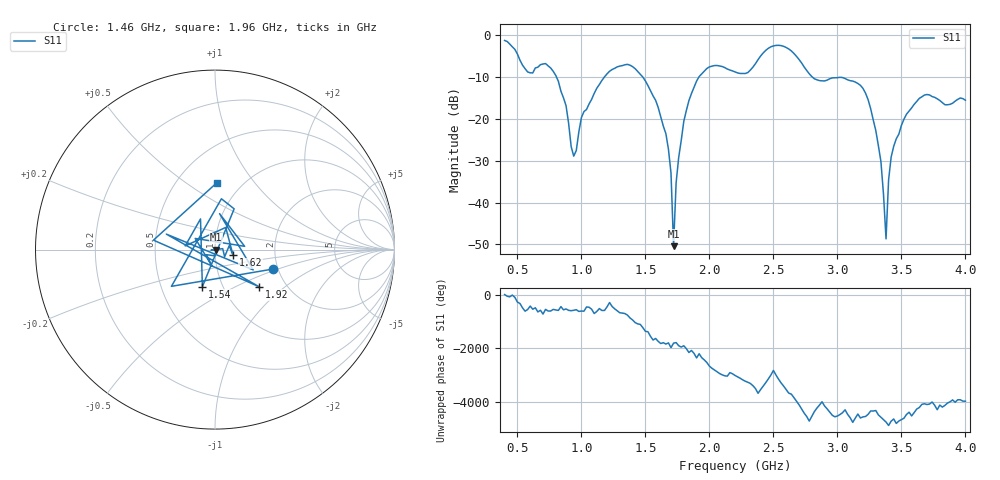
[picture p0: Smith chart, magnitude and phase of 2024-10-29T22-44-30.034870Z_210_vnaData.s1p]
!Created with skrf (http://scikit-rf.org).
# Hz S RI R 50.0
!freq ReS11 ImS11
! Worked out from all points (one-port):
!   181 points, 400 MHz to 4 GHz, reference 50 ohm
!   lowest |S11| = -50.4 dB at 1.72 GHz (marker M1), VSWR 1.01, Z = 50.3 - j0.0131 ohm
!   |S11| at or under -10 dB: 805.9 MHz to 1.179 GHz (372.7 MHz wide, 37.6 % of centre); 1.481 GHz to 1.917 GHz (436.3 MHz wide, 25.7 % of centre); 2.806 GHz to end of sweep
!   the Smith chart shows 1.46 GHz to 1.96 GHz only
!   S11 on the Smith chart (normalised r, x): 1.46 GHz: 1.89, -0.46; 1.54 GHz: 0.80, -0.35; 1.62 GHz: 1.22, -0.08; 1.92 GHz: 1.47, -0.68; 1.96 GHz: 0.77, +0.66
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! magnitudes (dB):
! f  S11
! 400 MHz  -1.2
! 580 MHz  -8.7
! 760 MHz  -7.8
! 860 MHz  -14.9
! 940 MHz  -28.9
! 1.02 GHz  -18.2
! 1.3 GHz  -7.3
! 1.46 GHz  -9.3
! 1.54 GHz  -13.2
! 1.62 GHz  -19.5
! 1.7 GHz  -32.9
! 1.72 GHz  -50.4
! 1.74 GHz  -35.3
! 1.76 GHz  -29.2
! 1.82 GHz  -18.0
! 1.92 GHz  -9.8
! 1.96 GHz  -8.6
! 2.2 GHz  -8.7
! 2.66 GHz  -4.3
! 3.1 GHz  -10.8
! 3.22 GHz  -13.8
! 3.3 GHz  -22.8
! 3.34 GHz  -30.2
! 3.38 GHz  -48.7
! 3.4 GHz  -34.6
! 3.42 GHz  -29.1
! 3.56 GHz  -18.1
! 4 GHz  -15.5
